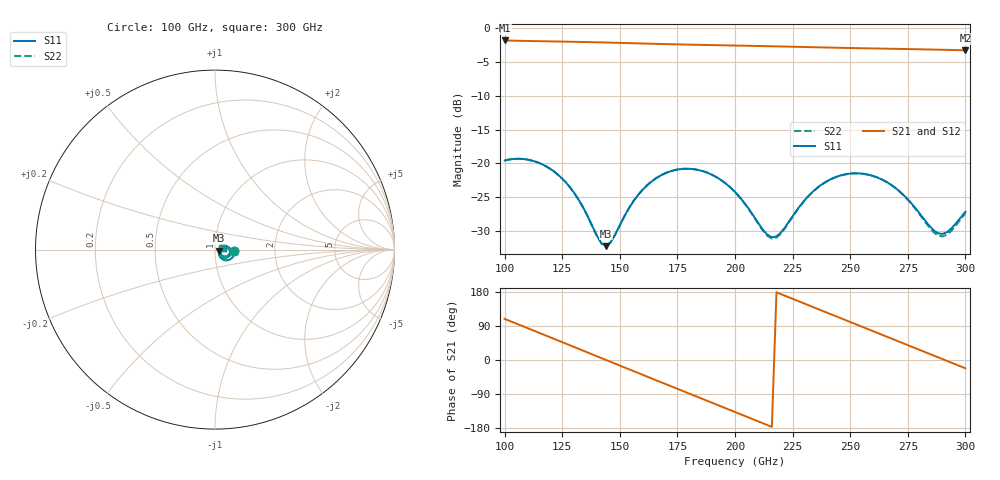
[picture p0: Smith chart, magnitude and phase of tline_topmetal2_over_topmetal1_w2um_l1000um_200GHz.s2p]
#  GHZ S DB R 50
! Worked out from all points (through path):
!   101 points, 100 GHz to 300 GHz, reference 50 ohm
!   highest |S21| = -1.84 dB at 100 GHz (marker M1); lowest = -3.3 dB at 300 GHz (marker M2)
!   group delay of S21, straight-line fit = 6.81 ps
!   lowest |S11| = -32.2 dB at 144 GHz (marker M3), VSWR 1.05, Z = 52.4 - j0.71 ohm
!   |S11| at or under -10 dB: start of sweep to end of sweep
!   |S22| runs from -32.2 to -19.3 dB; largest |S21 - S12| = 1.4e-12
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100  -19.57 -4.6  -1.84 108.5  -1.84 108.5  -19.57 -4.9
108  -19.35 -19.4  -1.90 88.9  -1.90 88.9  -19.35 -19.8
116  -20.08 -34.0  -1.95 69.3  -1.95 69.3  -20.09 -34.3
126  -22.59 -49.7  -2.01 44.6  -2.01 44.6  -22.60 -50.1
134  -26.45 -54.9  -2.06 24.8  -2.06 24.8  -26.48 -55.3
144  -32.19 -16.0  -2.14 0.1  -2.14 0.1  -32.23 -16.1
156  -25.55 19.7  -2.25 -29.5  -2.25 -29.5  -25.54 19.4
168  -21.74 5.8  -2.36 -58.9  -2.36 -58.9  -21.72 5.3
176  -20.86 -7.4  -2.42 -78.5  -2.42 -78.5  -20.84 -8.0
184  -20.97 -20.9  -2.48 -98.0  -2.48 -98.0  -20.96 -21.6
200  -24.21 -42.5  -2.59 -137.2  -2.59 -137.2  -24.23 -43.5
208  -27.72 -42.2  -2.64 -156.9  -2.64 -156.9  -27.80 -43.4
216  -30.91 -15.6  -2.70 -176.5  -2.70 -176.5  -31.10 -16.3
224  -28.30 14.3  -2.76 163.9  -2.76 163.9  -28.39 14.3
234  -24.11 14.9  -2.83 139.4  -2.83 139.4  -24.13 14.7
244  -21.98 2.2  -2.91 115.0  -2.91 115.0  -21.99 1.7
252  -21.46 -10.4  -2.97 95.4  -2.97 95.4  -21.47 -11.0
268  -23.22 -33.8  -3.06 56.4  -3.06 56.4  -23.24 -34.9
278  -26.47 -39.6  -3.13 31.9  -3.13 31.9  -26.57 -41.2
288  -30.30 -18.7  -3.20 7.4  -3.20 7.4  -30.64 -20.0
292  -30.16 -2.4  -3.23 -2.4  -3.23 -2.4  -30.52 -2.6
300  -27.14 14.6  -3.29 -21.9  -3.29 -21.9  -27.34 15.2
